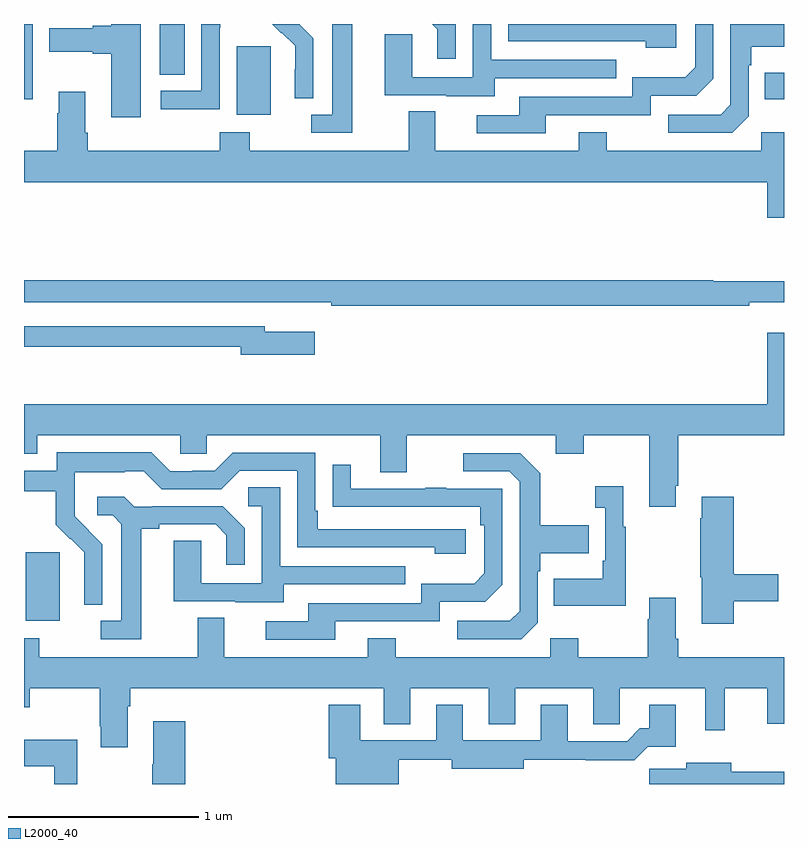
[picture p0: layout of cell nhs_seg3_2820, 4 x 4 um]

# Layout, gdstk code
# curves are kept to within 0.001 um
import gdstk
lib = gdstk.Library(unit=1e-6, precision=1e-09)
def R(c, l, rs):  # rectangles x0, y0, x1, y1
    for r in rs: c.add(gdstk.rectangle(r[:2], r[2:], *l))
def P(c, l, *ps):  # polygons
    for p in ps: c.add(gdstk.Polygon(p, *l))
L2000_40 = (2000, 40)

nhs_seg3_2820 = lib.new_cell('nhs_seg3_2820')
R(nhs_seg3_2820, L2000_40, [(257.009,713.258,257.188,713.619), (258.119,715.922,258.298,716.283), (257,716.003,257.046,716.4), (260.899,716.003,261,716.143), (257.714,716.134,257.845,716.4)])
P(nhs_seg3_2820, L2000_40, [(258.03,716.38),(258.033,716.38),(258.033,716.4),(257.934,716.4),(257.934,716.049),(257.721,716.049),(257.721,715.951),(258.03,715.951)],
  [(257.614,716.4),(257.459,716.4),(257.459,716.39),(257.363,716.39),(257.363,716.377),(257.133,716.377),(257.133,716.255),(257.363,716.255),(257.363,716.243),(257.459,716.243),(257.459,715.908),(257.614,715.908)],
  [(259.272,716.4),(259.148,716.4),(259.175,716.373),(259.175,716.217),(259.272,716.217)],
  [(258.727,716.4),(258.623,716.4),(258.623,715.923),(258.513,715.923),(258.513,715.827),(258.727,715.827)],
  [(260.434,716.4),(259.548,716.4),(259.548,716.31),(260.273,716.31),(260.273,716.276),(260.434,716.276)],
  [(258.522,716.326),(258.449,716.399),(258.45,716.4),(258.306,716.4),(258.354,716.352),(258.357,716.355),(258.428,716.285),(258.428,716.162),(258.426,716.162),(258.426,716.008),(258.522,716.008)],
  [(259.477,716.115),(260.117,716.115),(260.117,716.211),(259.458,716.211),(259.458,716.4),(259.362,716.4),(259.362,716.121),(259.044,716.121),(259.044,716.345),(258.899,716.345),(258.899,716.025),(259.223,716.025),(259.223,716.021),(259.477,716.021)],
  [(260.814,715.914),(260.814,716.183),(260.827,716.183),(260.827,716.279),(261,716.279),(261,716.4),(260.718,716.4),(260.718,715.974),(260.667,715.923),(260.391,715.923),(260.391,715.827),(260.727,715.827)],
  [(259.747,715.92),(260.298,715.92),(260.298,716.022),(260.538,716.022),(260.628,716.112),(260.628,716.4),(260.532,716.4),(260.532,716.172),(260.479,716.119),(260.202,716.119),(260.202,716.016),(259.607,716.016),(259.607,715.92),(259.383,715.92),(259.383,715.824),(259.747,715.824)],
  [(261,715.831),(260.88,715.831),(260.88,715.732),(260.067,715.732),(260.067,715.831),(259.919,715.831),(259.919,715.732),(259.165,715.732),(259.165,715.94),(259.025,715.94),(259.025,715.732),(258.189,715.732),(258.189,715.831),(258.029,715.831),(258.029,715.732),(257.336,715.732),(257.336,715.828),(257.323,715.828),(257.323,716.044),(257.183,716.044),(257.183,715.931),(257.176,715.931),(257.176,715.732),(257,715.732),(257,715.568),(260.912,715.568),(260.912,715.38),(261,715.38)],
  [(260.816,714.935),(261,714.935),(261,715.045),(260.627,715.045),(260.627,715.052),(257,715.052),(257,714.936),(258.364,714.936),(258.364,714.935),(258.616,714.935),(258.616,714.916),(260.816,714.916)],
  [(258.529,714.781),(258.268,714.781),(258.268,714.81),(257,714.81),(257,714.702),(258.14,714.702),(258.14,714.659),(258.529,714.659)],
  [(260.431,713.971),(260.444,713.971),(260.444,714.236),(261,714.236),(261,714.775),(260.912,714.775),(260.912,714.4),(257,714.4),(257,714.137),(257.071,714.137),(257.071,714.236),(257.823,714.236),(257.823,714.138),(257.961,714.138),(257.961,714.236),(258.875,714.236),(258.875,714.042),(259.015,714.042),(259.015,714.236),(259.799,714.236),(259.799,714.137),(259.947,714.137),(259.947,714.236),(260.291,714.236),(260.291,713.859),(260.431,713.859)],
  [(257.412,713.662),(257.266,713.81),(257.266,713.907),(257.268,713.907),(257.268,714.041),(257.531,714.041),(257.531,714.045),(257.631,714.045),(257.724,713.952),(258.039,713.952),(258.135,714.048),(258.438,714.048),(258.438,713.646),(259.163,713.646),(259.163,713.612),(259.324,713.612),(259.324,713.742),(258.547,713.742),(258.547,713.839),(258.534,713.839),(258.534,714.144),(258.099,714.144),(258.003,714.048),(257.885,714.048),(257.885,714.045),(257.769,714.045),(257.669,714.145),(257.172,714.145),(257.172,714.048),(257,714.048),(257,713.94),(257.167,713.94),(257.167,713.765),(257.244,713.688),(257.247,713.691),(257.318,713.621),(257.318,713.498),(257.316,713.498),(257.316,713.344),(257.412,713.344)],
  [(259.704,713.25),(259.704,713.519),(259.717,713.519),(259.717,713.615),(259.973,713.615),(259.973,713.763),(259.717,713.763),(259.717,714.035),(259.611,714.141),(259.311,714.141),(259.311,714.045),(259.554,714.045),(259.608,713.991),(259.608,713.31),(259.557,713.259),(259.281,713.259),(259.281,713.163),(259.617,713.163)],
  [(258.637,713.256),(259.188,713.256),(259.188,713.358),(259.428,713.358),(259.518,713.448),(259.518,713.955),(259.223,713.955),(259.223,713.96),(259.111,713.96),(259.111,713.955),(258.721,713.955),(258.721,714.079),(258.625,714.079),(258.625,713.86),(259.402,713.859),(259.402,713.762),(259.422,713.762),(259.422,713.508),(259.369,713.455),(259.092,713.455),(259.092,713.352),(258.497,713.352),(258.497,713.256),(258.273,713.256),(258.273,713.16),(258.637,713.16)],
  [(260.166,713.755),(260.155,713.755),(260.155,713.968),(260.007,713.968),(260.007,713.855),(260.058,713.855),(260.058,713.575),(260.046,713.575),(260.046,713.479),(259.789,713.479),(259.789,713.339),(260.166,713.339)],
  [(258.367,713.451),(259.007,713.451),(259.007,713.547),(258.348,713.547),(258.348,713.963),(258.18,713.963),(258.18,713.862),(258.252,713.862),(258.252,713.457),(257.934,713.457),(257.934,713.681),(257.789,713.681),(257.789,713.361),(258.113,713.361),(258.113,713.357),(258.367,713.357)],
  [(257.617,713.744),(257.713,713.744),(257.713,713.766),(258.008,713.766),(258.065,713.709),(258.065,713.553),(258.162,713.553),(258.162,713.746),(258.046,713.862),(257.674,713.862),(257.674,713.859),(257.58,713.859),(257.528,713.911),(257.385,713.911),(257.385,713.814),(257.466,713.814),(257.513,713.767),(257.513,713.259),(257.403,713.259),(257.403,713.163),(257.617,713.163)],
  [(260.735,713.362),(260.971,713.362),(260.971,713.504),(260.735,713.504),(260.735,713.911),(260.567,713.911),(260.567,713.798),(260.56,713.798),(260.56,713.487),(260.567,713.487),(260.567,713.244),(260.735,713.244)],
  [(257.545,712.808),(257.558,712.808),(257.558,712.904),(258.893,712.904),(258.893,712.714),(259.033,712.714),(259.033,712.904),(259.445,712.904),(259.445,712.715),(259.585,712.715),(259.585,712.904),(259.997,712.904),(259.997,712.714),(260.136,712.714),(260.136,712.904),(260.585,712.904),(260.585,712.683),(260.689,712.683),(260.689,712.904),(260.912,712.904),(260.912,712.716),(261,712.716),(261,713.068),(260.444,713.068),(260.444,713.164),(260.431,713.164),(260.431,713.38),(260.291,713.38),(260.291,713.267),(260.284,713.267),(260.284,713.068),(259.916,713.068),(259.916,713.167),(259.77,713.167),(259.77,713.068),(258.957,713.068),(258.957,713.167),(258.809,713.167),(258.809,713.068),(258.055,713.068),(258.055,713.276),(257.915,713.276),(257.915,713.068),(257.079,713.068),(257.079,713.167),(257,713.167),(257,712.805),(257.031,712.805),(257.031,712.904),(257.398,712.904),(257.398,712.705),(257.405,712.705),(257.405,712.593),(257.545,712.593)],
  [(258.973,712.528),(259.25,712.528),(259.25,712.481),(259.63,712.481),(259.63,712.528),(259.957,712.528),(259.957,712.526),(260.213,712.526),(260.282,712.595),(260.431,712.595),(260.431,712.816),(260.291,712.816),(260.291,712.693),(260.242,712.693),(260.175,712.626),(259.861,712.626),(259.861,712.816),(259.721,712.816),(259.721,712.629),(259.309,712.63),(259.309,712.816),(259.169,712.816),(259.169,712.629),(258.769,712.629),(258.769,712.816),(258.605,712.816),(258.605,712.536),(258.641,712.536),(258.641,712.4),(258.973,712.4)],
  [(257.849,712.729),(257.681,712.729),(257.681,712.505),(257.674,712.505),(257.674,712.4),(257.849,712.4)],
  [(257.281,712.633),(257,712.633),(257,712.493),(257.16,712.493),(257.16,712.4),(257.281,712.4)],
  [(261,712.464),(260.722,712.464),(260.722,712.513),(260.486,712.513),(260.486,712.481),(260.291,712.481),(260.291,712.4),(261,712.4)])

lib.write_gds('nhs_seg3_2820.gds')
